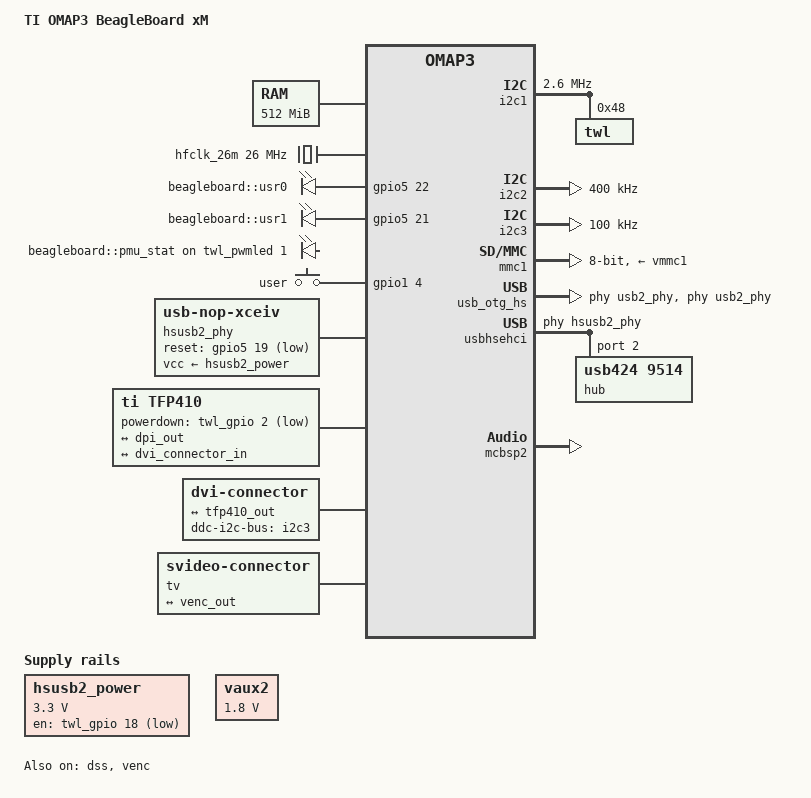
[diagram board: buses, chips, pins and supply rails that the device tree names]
// SPDX-License-Identifier: GPL-2.0-only
/*
 * Copyright (C) 2011 Texas Instruments Incorporated - https://www.ti.com/
 */
/dts-v1/;

#include "omap36xx.dtsi"

/ {
	model = "TI OMAP3 BeagleBoard xM";
	compatible = "ti,omap3-beagle-xm", "ti,omap3630", "ti,omap36xx", "ti,omap3";

	cpus {
		cpu@0 {
			cpu0-supply = <&vcc>;
		};
	};

	memory@80000000 {
		device_type = "memory";
		reg = <0x80000000 0x20000000>; /* 512 MB */
	};

	aliases {
		display0 = &dvi0;
		display1 = &tv0;
		ethernet = &ethernet;
	};

	/* fixed 26MHz oscillator */
	hfclk_26m: oscillator {
		#clock-cells = <0>;
		compatible = "fixed-clock";
		clock-frequency = <26000000>;
	};

	led-controller-1 {
		compatible = "gpio-leds";

		led-1 {
			label = "beagleboard::usr0";
			gpios = <&gpio5 22 GPIO_ACTIVE_HIGH>; /* 150 -> D6 LED */
			linux,default-trigger = "heartbeat";
		};

		led-2 {
			label = "beagleboard::usr1";
			gpios = <&gpio5 21 GPIO_ACTIVE_HIGH>; /* 149 -> D7 LED */
			linux,default-trigger = "mmc0";
		};
	};

	led-controller-2 {
		compatible = "pwm-leds";

		led-3 {
			label = "beagleboard::pmu_stat";
			pwms = <&twl_pwmled 1 7812500>;
			max-brightness = <127>;
		};
	};

	sound {
		compatible = "ti,omap-twl4030";
		ti,model = "omap3beagle";

		ti,mcbsp = <&mcbsp2>;
	};

	gpio_keys {
		compatible = "gpio-keys";

		user {
			label = "user";
			gpios = <&gpio1 4 GPIO_ACTIVE_HIGH>;
			linux,code = <0x114>;
			wakeup-source;
		};

	};

	/* HS USB Port 2 Power */
	hsusb2_power: hsusb2_power_reg {
		compatible = "regulator-fixed";
		regulator-name = "hsusb2_vbus";
		regulator-min-microvolt = <3300000>;
		regulator-max-microvolt = <3300000>;
		gpio = <&twl_gpio 18 GPIO_ACTIVE_HIGH>;	/* GPIO LEDA */
		startup-delay-us = <70000>;
	};

	/* HS USB Host PHY on PORT 2 */
	hsusb2_phy: hsusb2_phy {
		compatible = "usb-nop-xceiv";
		reset-gpios = <&gpio5 19 GPIO_ACTIVE_LOW>; /* gpio_147 */
		vcc-supply = <&hsusb2_power>;
		#phy-cells = <0>;
	};

	tfp410: encoder0 {
		compatible = "ti,tfp410";
		powerdown-gpios = <&twl_gpio 2 GPIO_ACTIVE_LOW>;

		/* XXX pinctrl from twl */

		ports {
			#address-cells = <1>;
			#size-cells = <0>;

			port@0 {
				reg = <0>;

				tfp410_in: endpoint {
					remote-endpoint = <&dpi_out>;
				};
			};

			port@1 {
				reg = <1>;

				tfp410_out: endpoint {
					remote-endpoint = <&dvi_connector_in>;
				};
			};
		};
	};

	dvi0: connector0 {
		compatible = "dvi-connector";
		label = "dvi";

		digital;

		ddc-i2c-bus = <&i2c3>;

		port {
			dvi_connector_in: endpoint {
				remote-endpoint = <&tfp410_out>;
			};
		};
	};

	tv0: connector1 {
		compatible = "svideo-connector";
		label = "tv";

		port {
			tv_connector_in: endpoint {
				remote-endpoint = <&venc_out>;
			};
		};
	};

	etb@5401b000 {
		compatible = "arm,coresight-etb10", "arm,primecell";
		reg = <0x5401b000 0x1000>;

		clocks = <&emu_src_ck>;
		clock-names = "apb_pclk";
		in-ports {
			port {
				etb_in: endpoint {
					remote-endpoint = <&etm_out>;
				};
			};
		};
	};

	etm@54010000 {
		compatible = "arm,coresight-etm3x", "arm,primecell";
		reg = <0x54010000 0x1000>;

		clocks = <&emu_src_ck>;
		clock-names = "apb_pclk";
		out-ports {
			port {
				etm_out: endpoint {
					remote-endpoint = <&etb_in>;
				};
			};
		};
	};
};

&omap3_pmx_wkup {
	gpio1_pins: pinmux_gpio1_pins {
		pinctrl-single,pins = <
			OMAP3_WKUP_IOPAD(0x2a0e, PIN_INPUT | PIN_OFF_WAKEUPENABLE | MUX_MODE4) /* sys_boot2.gpio_4 */
		>;
	};

	dss_dpi_pins2: pinmux_dss_dpi_pins1 {
		pinctrl-single,pins = <
			OMAP3_WKUP_IOPAD(0x2a0a, PIN_OUTPUT | MUX_MODE3)   /* sys_boot0.dss_data18 */
			OMAP3_WKUP_IOPAD(0x2a0c, PIN_OUTPUT | MUX_MODE3)   /* sys_boot1.dss_data19 */
			OMAP3_WKUP_IOPAD(0x2a10, PIN_OUTPUT | MUX_MODE3)   /* sys_boot3.dss_data20 */
			OMAP3_WKUP_IOPAD(0x2a12, PIN_OUTPUT | MUX_MODE3)   /* sys_boot4.dss_data21 */
			OMAP3_WKUP_IOPAD(0x2a14, PIN_OUTPUT | MUX_MODE3)   /* sys_boot5.dss_data22 */
			OMAP3_WKUP_IOPAD(0x2a16, PIN_OUTPUT | MUX_MODE3)   /* sys_boot6.dss_data23 */
		>;
	};
};

&omap3_pmx_core {
	pinctrl-names = "default";
	pinctrl-0 = <
			&hsusb2_pins
	>;

	uart3_pins: pinmux_uart3_pins {
		pinctrl-single,pins = <
			OMAP3_CORE1_IOPAD(0x219e, PIN_INPUT | MUX_MODE0)	/* uart3_rx_irrx.uart3_rx_irrx */
			OMAP3_CORE1_IOPAD(0x21a0, PIN_OUTPUT | MUX_MODE0)	/* uart3_tx_irtx.uart3_tx_irtx OUTPUT | MODE0 */
		>;
	};

	hsusb2_pins: pinmux_hsusb2_pins {
		pinctrl-single,pins = <
			OMAP3_CORE1_IOPAD(0x21d4, PIN_INPUT_PULLDOWN | MUX_MODE3)	/* mcspi1_cs3.hsusb2_data2 */
			OMAP3_CORE1_IOPAD(0x21d6, PIN_INPUT_PULLDOWN | MUX_MODE3)	/* mcspi2_clk.hsusb2_data7 */
			OMAP3_CORE1_IOPAD(0x21d8, PIN_INPUT_PULLDOWN | MUX_MODE3)	/* mcspi2_simo.hsusb2_data4 */
			OMAP3_CORE1_IOPAD(0x21da, PIN_INPUT_PULLDOWN | MUX_MODE3)	/* mcspi2_somi.hsusb2_data5 */
			OMAP3_CORE1_IOPAD(0x21dc, PIN_INPUT_PULLDOWN | MUX_MODE3)	/* mcspi2_cs0.hsusb2_data6 */
			OMAP3_CORE1_IOPAD(0x21de, PIN_INPUT_PULLDOWN | MUX_MODE3)	/* mcspi2_cs1.hsusb2_data3 */
		>;
	};

	dss_dpi_pins1: pinmux_dss_dpi_pins2 {
		pinctrl-single,pins = <
			OMAP3_CORE1_IOPAD(0x20d4, PIN_OUTPUT | MUX_MODE0)   /* dss_pclk.dss_pclk */
			OMAP3_CORE1_IOPAD(0x20d6, PIN_OUTPUT | MUX_MODE0)   /* dss_hsync.dss_hsync */
			OMAP3_CORE1_IOPAD(0x20d8, PIN_OUTPUT | MUX_MODE0)   /* dss_vsync.dss_vsync */
			OMAP3_CORE1_IOPAD(0x20da, PIN_OUTPUT | MUX_MODE0)   /* dss_acbias.dss_acbias */

			OMAP3_CORE1_IOPAD(0x20e8, PIN_OUTPUT | MUX_MODE0)   /* dss_data6.dss_data6 */
			OMAP3_CORE1_IOPAD(0x20ea, PIN_OUTPUT | MUX_MODE0)   /* dss_data7.dss_data7 */
			OMAP3_CORE1_IOPAD(0x20ec, PIN_OUTPUT | MUX_MODE0)   /* dss_data8.dss_data8 */
			OMAP3_CORE1_IOPAD(0x20ee, PIN_OUTPUT | MUX_MODE0)   /* dss_data9.dss_data9 */
			OMAP3_CORE1_IOPAD(0x20f0, PIN_OUTPUT | MUX_MODE0)   /* dss_data10.dss_data10 */
			OMAP3_CORE1_IOPAD(0x20f2, PIN_OUTPUT | MUX_MODE0)   /* dss_data11.dss_data11 */
			OMAP3_CORE1_IOPAD(0x20f4, PIN_OUTPUT | MUX_MODE0)   /* dss_data12.dss_data12 */
			OMAP3_CORE1_IOPAD(0x20f6, PIN_OUTPUT | MUX_MODE0)   /* dss_data13.dss_data13 */
			OMAP3_CORE1_IOPAD(0x20f8, PIN_OUTPUT | MUX_MODE0)   /* dss_data14.dss_data14 */
			OMAP3_CORE1_IOPAD(0x20fa, PIN_OUTPUT | MUX_MODE0)   /* dss_data15.dss_data15 */
			OMAP3_CORE1_IOPAD(0x20fc, PIN_OUTPUT | MUX_MODE0)   /* dss_data16.dss_data16 */
			OMAP3_CORE1_IOPAD(0x20fe, PIN_OUTPUT | MUX_MODE0)   /* dss_data17.dss_data17 */

			OMAP3_CORE1_IOPAD(0x2100, PIN_OUTPUT | MUX_MODE3)   /* dss_data18.dss_data0 */
			OMAP3_CORE1_IOPAD(0x2102, PIN_OUTPUT | MUX_MODE3)   /* dss_data19.dss_data1 */
			OMAP3_CORE1_IOPAD(0x2104, PIN_OUTPUT | MUX_MODE3)   /* dss_data20.dss_data2 */
			OMAP3_CORE1_IOPAD(0x2106, PIN_OUTPUT | MUX_MODE3)   /* dss_data21.dss_data3 */
			OMAP3_CORE1_IOPAD(0x2108, PIN_OUTPUT | MUX_MODE3)   /* dss_data22.dss_data4 */
			OMAP3_CORE1_IOPAD(0x210a, PIN_OUTPUT | MUX_MODE3)   /* dss_data23.dss_data5 */
		>;
	};
};

&omap3_pmx_core2 {
	pinctrl-names = "default";
	pinctrl-0 = <
			&hsusb2_2_pins
	>;

	hsusb2_2_pins: pinmux_hsusb2_2_pins {
		pinctrl-single,pins = <
			OMAP3630_CORE2_IOPAD(0x25f0, PIN_OUTPUT | MUX_MODE3)		/* etk_d10.hsusb2_clk */
			OMAP3630_CORE2_IOPAD(0x25f2, PIN_OUTPUT | MUX_MODE3)		/* etk_d11.hsusb2_stp */
			OMAP3630_CORE2_IOPAD(0x25f4, PIN_INPUT_PULLDOWN | MUX_MODE3)	/* etk_d12.hsusb2_dir */
			OMAP3630_CORE2_IOPAD(0x25f6, PIN_INPUT_PULLDOWN | MUX_MODE3)	/* etk_d13.hsusb2_nxt */
			OMAP3630_CORE2_IOPAD(0x25f8, PIN_INPUT_PULLDOWN | MUX_MODE3)	/* etk_d14.hsusb2_data0 */
			OMAP3630_CORE2_IOPAD(0x25fa, PIN_INPUT_PULLDOWN | MUX_MODE3)	/* etk_d15.hsusb2_data1 */
		>;
	};
};

&i2c1 {
	clock-frequency = <2600000>;

	twl: twl@48 {
		reg = <0x48>;
		interrupts = <7>; /* SYS_NIRQ cascaded to intc */
		interrupt-parent = <&intc>;

		clocks = <&hfclk_26m>;
		clock-names = "fck";

		twl_audio: audio {
			compatible = "ti,twl4030-audio";
			codec {
			};
		};

		twl_power: power {
			compatible = "ti,twl4030-power-beagleboard-xm", "ti,twl4030-power-idle-osc-off";
			ti,use_poweroff;
		};
	};
};

#include "twl4030.dtsi"
#include "twl4030_omap3.dtsi"

&i2c2 {
	clock-frequency = <400000>;
};

&i2c3 {
	clock-frequency = <100000>;
};

&mmc1 {
	vmmc-supply = <&vmmc1>;
	vqmmc-supply = <&vsim>;
	bus-width = <8>;
};

&mmc2 {
	status = "disabled";
};

&mmc3 {
	status = "disabled";
};

&twl_gpio {
	ti,use-leds;
	/* pullups: BIT(1) */
	ti,pullups = <0x000002>;
	/*
	 * pulldowns:
	 * BIT(2), BIT(6), BIT(7), BIT(8), BIT(13)
	 * BIT(15), BIT(16), BIT(17)
	 */
	ti,pulldowns = <0x03a1c4>;
};

&usb_otg_hs {
	interface-type = <0>;
	usb-phy = <&usb2_phy>;
	phys = <&usb2_phy>;
	phy-names = "usb2-phy";
	mode = <3>;
	power = <50>;
};

&uart3 {
	interrupts-extended = <&intc 74 &omap3_pmx_core OMAP3_UART3_RX>;
	pinctrl-names = "default";
	pinctrl-0 = <&uart3_pins>;
};

&gpio1 {
	pinctrl-names = "default";
	pinctrl-0 = <&gpio1_pins>;
};

&usbhshost {
	port2-mode = "ehci-phy";
};

&usbhsehci {
	phys = <0 &hsusb2_phy>;

	#address-cells = <1>;
	#size-cells = <0>;

	hub@2 {
		compatible = "usb424,9514";
		reg = <2>;
		#address-cells = <1>;
		#size-cells = <0>;

		ethernet: usbether@1 {
			compatible = "usb424,ec00";
			reg = <1>;
		};
	};
};

&vaux2 {
	regulator-name = "usb_1v8";
	regulator-min-microvolt = <1800000>;
	regulator-max-microvolt = <1800000>;
	regulator-always-on;
};

&mcbsp2 {
	status = "okay";
};

&dss {
	status = "okay";

	pinctrl-names = "default";
	pinctrl-0 = <
		&dss_dpi_pins1
		&dss_dpi_pins2
	>;

	port {
		dpi_out: endpoint {
			remote-endpoint = <&tfp410_in>;
			data-lines = <24>;
		};
	};
};

&venc {
	status = "okay";

	vdda-supply = <&vdac>;

	port {
		venc_out: endpoint {
			remote-endpoint = <&tv_connector_in>;
			ti,channels = <2>;
		};
	};
};
